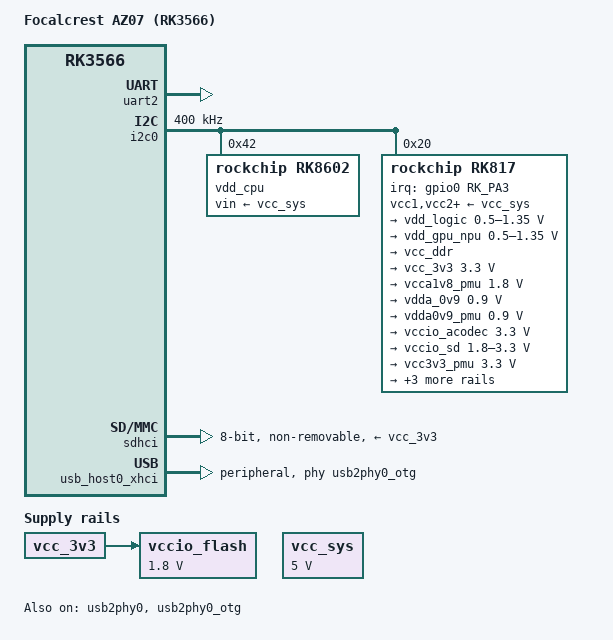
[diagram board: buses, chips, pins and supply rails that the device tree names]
// SPDX-License-Identifier: (GPL-2.0+ OR MIT)
/dts-v1/;

#include <arm64/rockchip/rk3566.dtsi>

/ {
	model = "Focalcrest AZ07 (RK3566)";
	compatible = "focalcrest,az07", "rockchip,rk3566";

	aliases {
		mmc0 = &sdhci;		
		serial2 = &uart2;
	};

	chosen {
		stdout-path = "serial2:1500000n8";
	};

	vcc_sys: regulator-vcc-sys {
		compatible = "regulator-fixed";
		regulator-name = "vcc_sys";
		regulator-always-on;
		regulator-boot-on;
		regulator-min-microvolt = <5000000>;
		regulator-max-microvolt = <5000000>;
	};

	vccio_flash: regulator-vccio-flash {
		compatible = "regulator-fixed";
		regulator-name = "vccio_flash";
		regulator-min-microvolt = <1800000>;
		regulator-max-microvolt = <1800000>;
		vin-supply = <&vcc_3v3>;
	};
};

&uart2 {
	status = "okay";
};

&i2c0 {
	status = "okay";
	clock-frequency = <400000>;

	vdd_cpu: regulator@42 {
		compatible = "rockchip,rk8602";
		reg = <0x42>;
		fcs,suspend-voltage-selector = <1>;
		regulator-name = "vdd_cpu";
		regulator-always-on;
		regulator-boot-on;
		regulator-min-microvolt = <712500>;
		regulator-max-microvolt = <1200000>;
		regulator-ramp-delay = <2300>;
		vin-supply = <&vcc_sys>;
	};

	rk817: pmic@20 {
		compatible = "rockchip,rk817";
		reg = <0x20>;
		interrupt-parent = <&gpio0>;
		interrupts = <RK_PA3 IRQ_TYPE_LEVEL_LOW>;
		#clock-cells = <1>;
		clock-output-names = "rk817-clkout1", "rk817-clkout2";
		rockchip,system-power-controller;
		wakeup-source;

		vcc1-supply = <&vcc_sys>;
		vcc2-supply = <&vcc_sys>;
		vcc3-supply = <&vcc_sys>;
		vcc4-supply = <&vcc_sys>;
		vcc5-supply = <&vcc_sys>;
		vcc6-supply = <&vcc_sys>;
		vcc7-supply = <&vcc_sys>;

		regulators {
			vdd_logic: DCDC_REG1 {
				regulator-name = "vdd_logic";
				regulator-always-on;
				regulator-boot-on;
				regulator-min-microvolt = <500000>;
				regulator-max-microvolt = <1350000>;
			};

			vdd_gpu_npu: DCDC_REG2 {
				regulator-name = "vdd_gpu_npu";
				regulator-always-on;
				regulator-boot-on;
				regulator-min-microvolt = <500000>;
				regulator-max-microvolt = <1350000>;
			};

			vcc_ddr: DCDC_REG3 {
				regulator-name = "vcc_ddr";
				regulator-always-on;
				regulator-boot-on;
			};

			vcc_3v3: DCDC_REG4 {
				regulator-name = "vcc_3v3";
				regulator-always-on;
				regulator-boot-on;
				regulator-min-microvolt = <3300000>;
				regulator-max-microvolt = <3300000>;
			};

			vcca1v8_pmu: LDO_REG1 {
				regulator-name = "vcca1v8_pmu";
				regulator-always-on;
				regulator-boot-on;
				regulator-min-microvolt = <1800000>;
				regulator-max-microvolt = <1800000>;
			};

			vdda_0v9: LDO_REG2 {
				regulator-name = "vdda_0v9";
				regulator-always-on;
				regulator-boot-on;
				regulator-min-microvolt = <900000>;
				regulator-max-microvolt = <900000>;
			};

			vdda0v9_pmu: LDO_REG3 {
				regulator-name = "vdda0v9_pmu";
				regulator-always-on;
				regulator-boot-on;
				regulator-min-microvolt = <900000>;
				regulator-max-microvolt = <900000>;
			};

			vccio_acodec: LDO_REG4 {
				regulator-name = "vccio_acodec";
				regulator-min-microvolt = <3300000>;
				regulator-max-microvolt = <3300000>;
			};

			vccio_sd: LDO_REG5 {
				regulator-name = "vccio_sd";
				regulator-min-microvolt = <1800000>;
				regulator-max-microvolt = <3300000>;
			};

			vcc3v3_pmu: LDO_REG6 {
				regulator-name = "vcc3v3_pmu";
				regulator-always-on;
				regulator-boot-on;
				regulator-min-microvolt = <3300000>;
				regulator-max-microvolt = <3300000>;
			};

			vcc_1v8: LDO_REG7 {
				regulator-name = "vcc_1v8";
				regulator-always-on;
				regulator-boot-on;
				regulator-min-microvolt = <1800000>;
				regulator-max-microvolt = <1800000>;
			};

			vcc1v8_adc: LDO_REG8 {
				regulator-name = "vcc1v8_adc";
				regulator-always-on;
				regulator-boot-on;
				regulator-min-microvolt = <1800000>;
				regulator-max-microvolt = <1800000>;
			};

			vcc2v8_dvp: LDO_REG9 {
				regulator-name = "vcc2v8_dvp";
				regulator-min-microvolt = <2800000>;
				regulator-max-microvolt = <2800000>;
			};
		};
	};
};

&pmu_io_domains {
	status = "okay";
	pmuio1-supply = <&vcc3v3_pmu>;
	pmuio2-supply = <&vcc3v3_pmu>;
	vccio1-supply = <&vcc_3v3>;
	vccio2-supply = <&vccio_flash>;
	vccio3-supply = <&vccio_sd>;
	vccio4-supply = <&vcca1v8_pmu>;
	vccio5-supply = <&vcc_3v3>;
	vccio6-supply = <&vcc_3v3>;
	vccio7-supply = <&vcc_3v3>;
};

&sdhci {
	bus-width = <8>;
	cap-mmc-highspeed;
	mmc-ddr-1_8v;
	mmc-hs200-1_8v;
	no-sd;
	no-sdio;
	non-removable;
	pinctrl-names = "default";
	pinctrl-0 = <&emmc_bus8 &emmc_clk &emmc_cmd &emmc_datastrobe
		     &emmc_rstnout>;
	vmmc-supply = <&vcc_3v3>;
	vqmmc-supply = <&vccio_flash>;
	status = "okay";
};

&sdmmc0 {
	status = "disabled";
};

&sdmmc1 {
	status = "disabled";
};

&sfc {
	status = "disabled";
};

&usb_host0_xhci {
	dr_mode = "peripheral";
	extcon = <&usb2phy0>;
	maximum-speed = "high-speed";
	phys = <&usb2phy0_otg>;
	phy-names = "usb2-phy";
	status = "okay";
};

&usb2phy0 {
	status = "okay";
};

&usb2phy0_otg {
	status = "okay";
};
